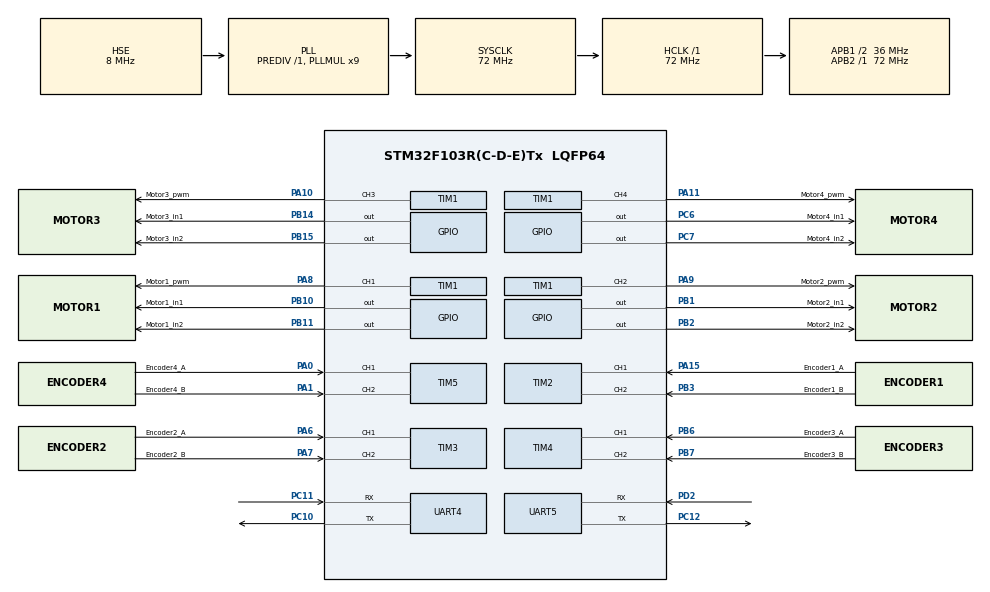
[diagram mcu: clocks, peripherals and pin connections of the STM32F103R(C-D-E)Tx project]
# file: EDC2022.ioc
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Dma.Request0=UART4_RX
Dma.UART4_RX.0.Direction=DMA_PERIPH_TO_MEMORY
Dma.UART4_RX.0.Instance=DMA2_Channel3
Dma.UART4_RX.0.MemDataAlignment=DMA_MDATAALIGN_BYTE
Dma.UART4_RX.0.MemInc=DMA_MINC_ENABLE
Dma.UART4_RX.0.Mode=DMA_NORMAL
Dma.UART4_RX.0.PeriphDataAlignment=DMA_PDATAALIGN_BYTE
Dma.UART4_RX.0.PeriphInc=DMA_PINC_DISABLE
Dma.UART4_RX.0.Priority=DMA_PRIORITY_LOW
Mcu.Family=STM32F1
Mcu.Name=STM32F103R(C-D-E)Tx
Mcu.Package=LQFP64
NVIC.DMA2_Channel3_IRQn=true\:0\:0\:false\:false\:true\:false\:true\:true
NVIC.PriorityGroup=NVIC_PRIORITYGROUP_4
NVIC.TIM1_BRK_IRQn=true\:0\:0\:false\:false\:true\:true\:true\:true
NVIC.TIM1_CC_IRQn=true\:0\:0\:false\:false\:true\:true\:true\:true
NVIC.TIM1_TRG_COM_IRQn=true\:0\:0\:false\:false\:true\:true\:true\:true
NVIC.TIM1_UP_IRQn=true\:0\:0\:false\:false\:true\:true\:true\:true
NVIC.TIM2_IRQn=true\:0\:0\:false\:false\:true\:true\:true\:true
NVIC.TIM3_IRQn=true\:0\:0\:false\:false\:true\:true\:true\:true
NVIC.TIM4_IRQn=true\:0\:0\:false\:false\:true\:true\:true\:true
NVIC.TIM5_IRQn=true\:0\:0\:false\:false\:true\:true\:true\:true
NVIC.UART4_IRQn=true\:0\:0\:false\:false\:true\:true\:true\:true
NVIC.UART5_IRQn=true\:0\:0\:false\:false\:true\:true\:true\:true
PA0-WKUP.GPIO_Label=Encoder4_A
PA0-WKUP.Signal=S_TIM5_CH1
PA1.GPIO_Label=Encoder4_B
PA1.Signal=S_TIM5_CH2
PA10.GPIO_Label=Motor3_pwm
PA10.Signal=S_TIM1_CH3
PA11.GPIO_Label=Motor4_pwm
PA11.Signal=S_TIM1_CH4
PA13.Mode=Serial_Wire
PA13.Signal=SYS_JTMS-SWDIO
PA14.Mode=Serial_Wire
PA14.Signal=SYS_JTCK-SWCLK
PA15.GPIO_Label=Encoder1_A
PA15.Signal=S_TIM2_CH1_ETR
PA6.GPIO_Label=Encoder2_A
PA6.Signal=S_TIM3_CH1
PA7.GPIO_Label=Encoder2_B
PA7.Signal=S_TIM3_CH2
PA8.GPIO_Label=Motor1_pwm
PA8.Signal=S_TIM1_CH1
PA9.GPIO_Label=Motor2_pwm
PA9.Signal=S_TIM1_CH2
PB1.GPIO_Label=Motor2_in1
PB1.Signal=GPIO_Output
PB10.GPIO_Label=Motor1_in1
PB10.Signal=GPIO_Output
PB11.GPIO_Label=Motor1_in2
PB11.Signal=GPIO_Output
PB14.GPIO_Label=Motor3_in1
PB14.Signal=GPIO_Output
PB15.GPIO_Label=Motor3_in2
PB15.Signal=GPIO_Output
PB2.GPIO_Label=Motor2_in2
PB2.Signal=GPIO_Output
PB3.GPIO_Label=Encoder1_B
PB3.Signal=S_TIM2_CH2
PB6.GPIO_Label=Encoder3_A
PB6.Signal=S_TIM4_CH1
PB7.GPIO_Label=Encoder3_B
PB7.Signal=S_TIM4_CH2
PC10.Mode=Asynchronous
PC10.Signal=UART4_TX
PC11.Mode=Asynchronous
PC11.Signal=UART4_RX
PC12.Mode=Asynchronous
PC12.Signal=UART5_TX
PC6.GPIO_Label=Motor4_in1
PC6.Signal=GPIO_Output
PC7.GPIO_Label=Motor4_in2
PC7.Signal=GPIO_Output
PD0-OSC_IN.Mode=HSE-External-Oscillator
PD0-OSC_IN.Signal=RCC_OSC_IN
PD1-OSC_OUT.Mode=HSE-External-Oscillator
PD1-OSC_OUT.Signal=RCC_OSC_OUT
PD2.Mode=Asynchronous
PD2.Signal=UART5_RX
ProjectManager.HeapSize=0x200
ProjectManager.StackSize=0x400
ProjectManager.TargetToolchain=Makefile
RCC.AHBFreq_Value=72000000
RCC.APB1CLKDivider=RCC_HCLK_DIV2
RCC.APB1Freq_Value=36000000
RCC.APB1TimFreq_Value=72000000
RCC.APB2Freq_Value=72000000
RCC.APB2TimFreq_Value=72000000
RCC.HCLKFreq_Value=72000000
RCC.PLLMUL=RCC_PLL_MUL9
RCC.PLLSourceVirtual=RCC_PLLSOURCE_HSE
RCC.SYSCLKFreq_VALUE=72000000
RCC.SYSCLKSource=RCC_SYSCLKSOURCE_PLLCLK
RCC.USBFreq_Value=72000000
SH.S_TIM1_CH1.0=TIM1_CH1,PWM Generation1 CH1
SH.S_TIM1_CH2.0=TIM1_CH2,PWM Generation2 CH2
SH.S_TIM1_CH3.0=TIM1_CH3,PWM Generation3 CH3
SH.S_TIM1_CH4.0=TIM1_CH4,PWM Generation4 CH4
SH.S_TIM2_CH1_ETR.0=TIM2_CH1,Encoder_Interface
SH.S_TIM2_CH2.0=TIM2_CH2,Encoder_Interface
SH.S_TIM3_CH1.0=TIM3_CH1,Encoder_Interface
SH.S_TIM3_CH2.0=TIM3_CH2,Encoder_Interface
SH.S_TIM4_CH1.0=TIM4_CH1,Encoder_Interface
SH.S_TIM4_CH2.0=TIM4_CH2,Encoder_Interface
SH.S_TIM5_CH1.0=TIM5_CH1,Encoder_Interface
SH.S_TIM5_CH2.0=TIM5_CH2,Encoder_Interface
TIM1.Channel-PWM\ Generation1\ CH1=TIM_CHANNEL_1
TIM1.Channel-PWM\ Generation2\ CH2=TIM_CHANNEL_2
TIM1.Channel-PWM\ Generation3\ CH3=TIM_CHANNEL_3
TIM1.Channel-PWM\ Generation4\ CH4=TIM_CHANNEL_4
TIM1.Period=999
TIM1.Prescaler=71
TIM2.EncoderMode=TIM_ENCODERMODE_TI12
TIM3.EncoderMode=TIM_ENCODERMODE_TI12
TIM4.EncoderMode=TIM_ENCODERMODE_TI12
TIM5.EncoderMode=TIM_ENCODERMODE_TI12
UART4.VirtualMode=Asynchronous
UART5.VirtualMode=Asynchronous
VP_TIM1_VS_ClockSourceINT.Mode=Internal
board=custom

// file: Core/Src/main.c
/* USER CODE BEGIN Header */
/**
  ******************************************************************************
  * @file           : main.c
  * @brief          : Main program body
  ******************************************************************************
  * @attention
  *
  * Copyright (c) 2022 STMicroelectronics.
  * All rights reserved.
  *
  * This software is licensed under terms that can be found in the LICENSE file
  * in the root directory of this software component.
  * If no LICENSE file comes with this software, it is provided AS-IS.
  *
  ******************************************************************************
  */
/* USER CODE END Header */
#include "main.h"
#include "dma.h"
#include "tim.h"
#include "usart.h"
#include "gpio.h"

/* USER CODE BEGIN PTD */

typedef enum
{
  back = 0,
  forward
}Direction_Typedef; //the direction of motor

typedef struct
{
  Direction_Typedef direction;
  int velocity;
}Motor_Typedef;

typedef struct
{
	float Kp, Ki, Kd;
	float P, I, D;
	float Error_Last;
}PID_Typedef;

/* USER CODE END PTD */

/* USER CODE BEGIN PD */

#define PID_MAX 1000//改成自己设定的PWM波的单波最长输出时间
#define PID_MIN -1000//改成自己设定的PWM波的单波最长输出时间的相反数

/* USER CODE END PD */

/* USER CODE BEGIN PM */
#define Wheel_L 20
/* USER CODE END PM */

/* USER CODE BEGIN PV */
Motor_Typedef motor[5];

PID_Typedef *pid_speed[5];
PID_Typedef *pid_rotate;
PID_Typedef *pid_ordinate;
uint8_t RxBuffer[10];

/* USER CODE END PV */

void SystemClock_Config(void);
/* USER CODE BEGIN PFP */

void MOTOR_Direction(int16_t motor_number, Direction_Typedef direction);
void HAL_TIM_PeriodElapsedCallback(TIM_HandleTypeDef *htim);

/* USER CODE END PFP */

int main(void)
{

  /* MCU Configuration--------------------------------------------------------*/

  /* Reset of all peripherals, Initializes the Flash interface and the Systick. */
  HAL_Init();

  /* Configure the system clock */
  SystemClock_Config();

  /* Initialize all configured peripherals */
  MX_GPIO_Init();
  MX_DMA_Init();
  MX_TIM1_Init();
  MX_TIM2_Init();
  MX_TIM3_Init();
  MX_TIM4_Init();
  MX_TIM5_Init();
  MX_UART4_Init();
  MX_UART5_Init();
  /* USER CODE BEGIN 2 */
  __HAL_TIM_CLEAR_IT(&htim1, TIM_IT_UPDATE);
  HAL_TIM_Base_Start_IT(&htim1);
  HAL_TIM_PWM_Start(&htim1, TIM_CHANNEL_1);
  HAL_TIM_PWM_Start(&htim1, TIM_CHANNEL_2);
  HAL_TIM_PWM_Start(&htim1, TIM_CHANNEL_3);
  HAL_TIM_PWM_Start(&htim1, TIM_CHANNEL_4);

  HAL_TIM_Encoder_Start(&htim2, TIM_CHANNEL_ALL);
  HAL_TIM_Encoder_Start(&htim3, TIM_CHANNEL_ALL);
  HAL_TIM_Encoder_Start(&htim4, TIM_CHANNEL_ALL);
  HAL_TIM_Encoder_Start(&htim5, TIM_CHANNEL_ALL);
  PID_Init(pid_speed, 10, 3, 0);
  /* USER CODE END 2 */

  /* Infinite loop */
  while (1)
  {

    /* USER CODE BEGIN 3 */

    // u5_printf("HELLO WORLD!\n");
  }
  /* USER CODE END 3 */
}

void SystemClock_Config(void)
{
  RCC_OscInitTypeDef RCC_OscInitStruct = {0};
  RCC_ClkInitTypeDef RCC_ClkInitStruct = {0};

  /** Initializes the RCC Oscillators according to the specified parameters
  * in the RCC_OscInitTypeDef structure.
  */
  RCC_OscInitStruct.OscillatorType = RCC_OSCILLATORTYPE_HSE;
  RCC_OscInitStruct.HSEState = RCC_HSE_ON;
  RCC_OscInitStruct.HSEPredivValue = RCC_HSE_PREDIV_DIV1;
  RCC_OscInitStruct.HSIState = RCC_HSI_ON;
  RCC_OscInitStruct.PLL.PLLState = RCC_PLL_ON;
  RCC_OscInitStruct.PLL.PLLSource = RCC_PLLSOURCE_HSE;
  RCC_OscInitStruct.PLL.PLLMUL = RCC_PLL_MUL9;
  if (HAL_RCC_OscConfig(&RCC_OscInitStruct) != HAL_OK)
  {
    Error_Handler();
  }

  /** Initializes the CPU, AHB and APB buses clocks
  */
  RCC_ClkInitStruct.ClockType = RCC_CLOCKTYPE_HCLK|RCC_CLOCKTYPE_SYSCLK
                              |RCC_CLOCKTYPE_PCLK1|RCC_CLOCKTYPE_PCLK2;
  RCC_ClkInitStruct.SYSCLKSource = RCC_SYSCLKSOURCE_PLLCLK;
  RCC_ClkInitStruct.AHBCLKDivider = RCC_SYSCLK_DIV1;
  RCC_ClkInitStruct.APB1CLKDivider = RCC_HCLK_DIV2;
  RCC_ClkInitStruct.APB2CLKDivider = RCC_HCLK_DIV1;

  if (HAL_RCC_ClockConfig(&RCC_ClkInitStruct, FLASH_LATENCY_2) != HAL_OK)
  {
    Error_Handler();
  }
}

/* USER CODE BEGIN 4 */
/**
  * @brief the direction of motor
  * @param motor_number:the number of motor 1~4
  * @param direction:forward or back
  */
void MOTOR_Direction(int16_t motor_number, Direction_Typedef direction)
{
  motor[motor_number].direction = direction;
  if (direction == back)
  {
      switch (motor_number)
      {
      case 1:
        HAL_GPIO_WritePin(Motor1_in1_GPIO_Port, Motor1_in1_Pin, 1);
        HAL_GPIO_WritePin(Motor1_in2_GPIO_Port, Motor1_in2_Pin, 0);
        break;
      case 2:
        HAL_GPIO_WritePin(Motor2_in1_GPIO_Port, Motor2_in1_Pin, 1);
        HAL_GPIO_WritePin(Motor2_in2_GPIO_Port, Motor2_in2_Pin, 0);
        break;
      case 3:
        HAL_GPIO_WritePin(Motor3_in1_GPIO_Port, Motor3_in1_Pin, 1);
        HAL_GPIO_WritePin(Motor3_in2_GPIO_Port, Motor3_in2_Pin, 0);
        break;
      case 4:
        HAL_GPIO_WritePin(Motor4_in1_GPIO_Port, Motor4_in1_Pin, 1);
        HAL_GPIO_WritePin(Motor4_in2_GPIO_Port, Motor4_in2_Pin, 0);
        break;

      default:
        break;
      }
  }
  if (direction == forward)
  {
      switch (motor_number)
      {
      case 1:
        HAL_GPIO_WritePin(Motor1_in1_GPIO_Port, Motor1_in1_Pin, 0);
        HAL_GPIO_WritePin(Motor1_in2_GPIO_Port, Motor1_in2_Pin, 1);
        break;
      case 2:
        HAL_GPIO_WritePin(Motor2_in1_GPIO_Port, Motor2_in1_Pin, 0);
        HAL_GPIO_WritePin(Motor2_in2_GPIO_Port, Motor2_in2_Pin, 1);
        break;
      case 3:
        HAL_GPIO_WritePin(Motor3_in1_GPIO_Port, Motor3_in1_Pin, 0);
        HAL_GPIO_WritePin(Motor3_in2_GPIO_Port, Motor3_in2_Pin, 1);
        break;
      case 4:
        HAL_GPIO_WritePin(Motor4_in1_GPIO_Port, Motor4_in1_Pin, 0);
        HAL_GPIO_WritePin(Motor4_in2_GPIO_Port, Motor4_in2_Pin, 1);
        break;
      }
  }
}

/**
 * @brief read the speed of motors, stored in motor[].velocity
*/
void MOTOR_SpeedRead()
{
    __IO uint32_t count1 = __HAL_TIM_GET_COUNTER(&htim2);//电机1的编码器计数
    __IO uint32_t count2 = __HAL_TIM_GET_COUNTER(&htim3);//电机2的编码器计数
    __IO uint32_t count3 = __HAL_TIM_GET_COUNTER(&htim4);//电机3的编码器计数
    __IO uint32_t count4 = __HAL_TIM_GET_COUNTER(&htim5);//电机4的编码器计数

    __HAL_TIM_SetCounter(&htim2, 0);
    __HAL_TIM_SetCounter(&htim3, 0);
    __HAL_TIM_SetCounter(&htim4, 0);
    __HAL_TIM_SetCounter(&htim5, 0);

    motor[1].velocity = (float)count1 / 4 / 0.001 / 260 * Wheel_L;
    motor[2].velocity = (float)count2 / 4 / 0.001 / 260 * Wheel_L;
    motor[3].velocity = (float)count3 / 4 / 0.001 / 260 * Wheel_L;
    motor[4].velocity = (float)count4 / 4 / 0.001 / 260 * Wheel_L;
    u5_printf("%d\n", count1);
}

/**
  * @brief Initialize PID
  * @param pid: the pid controller
  * @param p_set: Kp of a specific pid controller
  * @param i_set: Ki of a specific pid controller
  * @param d_set: Kd of a specific pid controller
*/
void PID_Init(PID_Typedef *pid, float p_set, float i_set, float d_set)
{
  pid->Kp = p_set;
  pid->Ki = i_set;
  pid->Kd = d_set;
}

/**
 * @brief clear the former status of a pid controller
 * @param pid: the pid controller
*/
void PID_Clear(PID_Typedef *pid)
{
  pid->P = 0;
  pid->I = 0;
  pid->D = 0;
  pid->Error_Last = 0;
}

/**
 * @brief Calculate PID
 * @param pid: which pid controller
 * @param set_value: the target value
 * @param now_value: the current value
 * @return the pwm to be applied
*/
int PID_Calculate(PID_Typedef *pid, float set_value, float now_value )
{
	pid->P = set_value - now_value;
	pid->I += pid->P;
	pid->D = pid->P - pid->Error_Last;
	pid->Error_Last = pid->P;
	pid->I=pid->I>1000?1000:(pid->I<(-1000)?(-1000):pid->I);
	if( set_value == 0 )			pid->I = 0;
	return(pid->Kp*pid->P  +  pid->Ki*pid->I  +  pid->Kd*pid->D);
}

/**
 * @brief control the speed of motors
 * @param motor_number: number of the motor, range 1~4
 * @param direction: forward or back
 * @param target_speed: target speed to reach
*/
void MOTOR_Speedcontrol(int16_t motor_number, Direction_Typedef direction, float target_speed)
{
  MOTOR_Direction(motor_number, direction);
  MOTOR_SpeedRead();
  switch (motor_number)
  {
    case 1:
      __HAL_TIM_SET_COMPARE(&htim1, TIM_CHANNEL_1, PID_Calculate(pid_speed[1], target_speed, motor[1].velocity));
    break;

    case 2:
      __HAL_TIM_SET_COMPARE(&htim1, TIM_CHANNEL_2, PID_Calculate(pid_speed[2], target_speed, motor[1].velocity));
    break;

    case 3:
      __HAL_TIM_SET_COMPARE(&htim1, TIM_CHANNEL_3, PID_Calculate(pid_speed[3], target_speed, motor[1].velocity));
    break;

    case 4:
      __HAL_TIM_SET_COMPARE(&htim1, TIM_CHANNEL_4, PID_Calculate(pid_speed[4], target_speed, motor[1].velocity));
    break;
  }
}

/**
  * @brief TIM interrupt function
  * @param htim：choose the timer that cause the interrupt
  */
void HAL_TIM_PeriodElapsedCallback(TIM_HandleTypeDef *htim)
{
  if (htim->Instance == TIM1)
  {
    u5_printf("Hello World\n");
  }
}

/* USER CODE END 4 */

void Error_Handler(void)
{
  __disable_irq();
  while (1)
  {
  }
}
